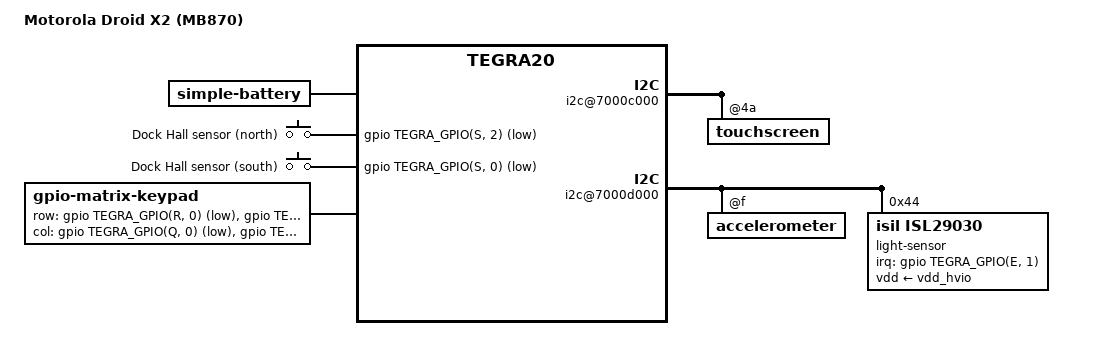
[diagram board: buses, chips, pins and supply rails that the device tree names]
// SPDX-License-Identifier: GPL-2.0
/dts-v1/;

#include "tegra20-motorola-mot.dtsi"

/ {
	model = "Motorola Droid X2 (MB870)";
	compatible = "motorola,daytona", "nvidia,tegra20";

	i2c@7000c000 {
		touchscreen@4a {
			touchscreen-size-x = <1010>;
			touchscreen-size-y = <1023>;
			touchscreen-min-x = <25>;
		};
	};

	i2c@7000d000 {
		accelerometer@f {
			mount-matrix =	"-1",  "0",  "0",
					 "0", "-1",  "0",
					 "0",  "0", "-1";
		};

		light-sensor@44 {
			compatible = "isil,isl29030";
			reg = <0x44>;

			interrupt-parent = <&gpio>;
			interrupts = <TEGRA_GPIO(E, 1) IRQ_TYPE_LEVEL_LOW>;

			vdd-supply = <&vdd_hvio>;
		};
	};

	/* Motorola BH5X battery cell */
	battery: battery-cell {
		compatible = "simple-battery";
		device-chemistry = "lithium-ion";

		voltage-min-design-microvolt = <3200000>;
		voltage-max-design-microvolt = <4200000>;

		charge-full-design-microamp-hours = <1500000>;
		energy-full-design-microwatt-hours = <5600000>;

		constant-charge-voltage-max-microvolt = <4200000>;
		operating-range-celsius = <0 45>;
	};

	extcon-keys {
		compatible = "gpio-keys";

		switch-dock-hall-sensor-north {
			label = "Dock Hall sensor (north)";
			gpios = <&gpio TEGRA_GPIO(S, 2) GPIO_ACTIVE_LOW>;
			linux,input-type = <EV_SW>;
			linux,code = <SW_DOCK>;
			debounce-interval = <500>;
			wakeup-event-action = <EV_ACT_ASSERTED>;
			wakeup-source;
		};

		switch-dock-hall-sensor-south {
			label = "Dock Hall sensor (south)";
			gpios = <&gpio TEGRA_GPIO(S, 0) GPIO_ACTIVE_LOW>;
			linux,input-type = <EV_SW>;
			linux,code = <SW_DOCK>;
			debounce-interval = <500>;
			wakeup-event-action = <EV_ACT_ASSERTED>;
			wakeup-source;
		};
	};

	matrix-keypad {
		compatible = "gpio-matrix-keypad";

		debounce-delay-ms = <10>;
		col-scan-delay-us = <5>;

		row-gpios = <&gpio TEGRA_GPIO(R, 0) GPIO_ACTIVE_LOW
			     &gpio TEGRA_GPIO(R, 1) GPIO_ACTIVE_LOW
			     &gpio TEGRA_GPIO(R, 2) GPIO_ACTIVE_LOW
			     &gpio TEGRA_GPIO(R, 3) GPIO_ACTIVE_LOW>;
		col-gpios = <&gpio TEGRA_GPIO(Q, 0) GPIO_ACTIVE_LOW
			     &gpio TEGRA_GPIO(Q, 1) GPIO_ACTIVE_LOW
			     &gpio TEGRA_GPIO(Q, 2) GPIO_ACTIVE_LOW>;

		gpio-activelow;

		linux,keymap = <MATRIX_KEY(0x00, 0x00, KEY_VOLUMEUP)

				MATRIX_KEY(0x01, 0x00, KEY_VOLUMEDOWN)

				MATRIX_KEY(0x02, 0x00, KEY_BACK)
				MATRIX_KEY(0x02, 0x01, KEY_SEARCH)
				MATRIX_KEY(0x02, 0x02, KEY_HOME)

				MATRIX_KEY(0x03, 0x01, KEY_MENU)>;

		wakeup-source;
	};

	sound {
		nvidia,model = "Motorola Droid X2 (MB870) CPCAP";
	};
};
